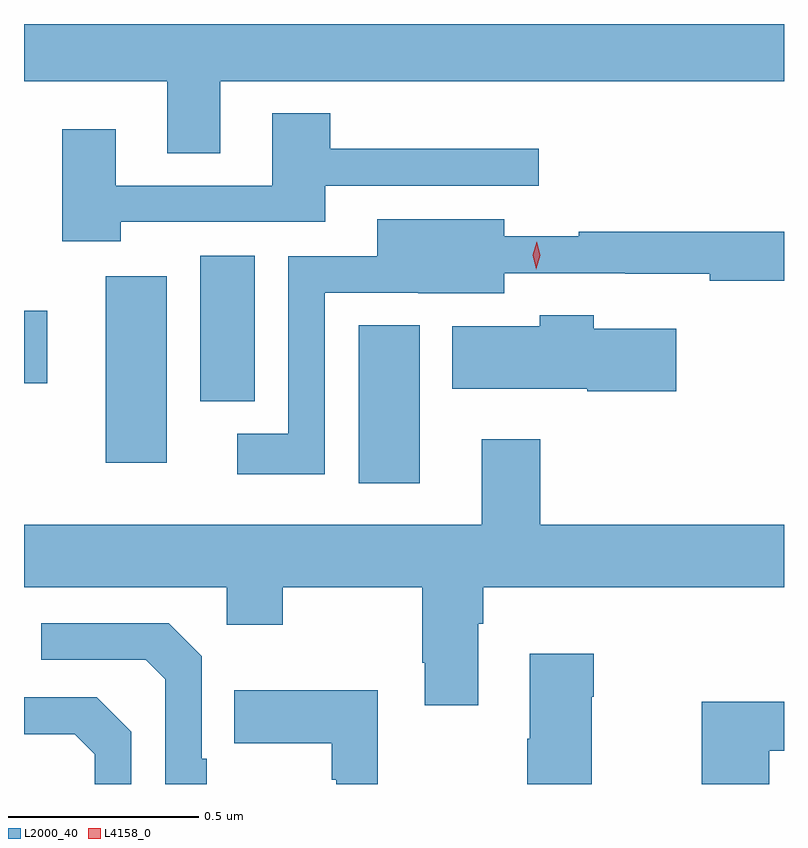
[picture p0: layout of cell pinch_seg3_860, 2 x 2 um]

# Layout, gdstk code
import gdstk
lib = gdstk.Library(unit=1e-6, precision=1e-09)
def R(c, l, rs):  # rectangles x0, y0, x1, y1
    for r in rs: c.add(gdstk.rectangle(r[:2], r[2:], *l))
def P(c, l, *ps):  # polygons
    for p in ps: c.add(gdstk.Polygon(p, *l))
L2000_40 = (2000, 40)
L4158_0 = (4158, 0)

pinch_seg3_860 = lib.new_cell('pinch_seg3_860')
R(pinch_seg3_860, L2000_40, [(709.667,742.482,709.828,742.897), (709.001,742.536,709.162,743.026), (709.25,742.697,709.393,743.08), (708.786,742.745,708.847,742.936)])
P(pinch_seg3_860, L2000_40, [(709.303,743.54),(710.786,743.54),(710.786,743.69),(708.786,743.69),(708.786,743.54),(709.163,743.54),(709.163,743.35),(709.303,743.35)],
  [(709.04,743.169),(709.579,743.169),(709.579,743.265),(710.14,743.265),(710.14,743.362),(709.592,743.362),(709.592,743.455),(709.439,743.455),(709.439,743.265),(709.027,743.265),(709.027,743.413),(708.887,743.413),(708.887,743.118),(709.04,743.118)],
  [(709.578,742.983),(709.824,742.983),(709.824,742.982),(710.05,742.982),(710.05,743.034),(710.368,743.034),(710.368,743.033),(710.59,743.033),(710.59,743.014),(710.786,743.014),(710.786,743.143),(710.246,743.143),(710.246,743.131),(710.05,743.131),(710.05,743.176),(709.715,743.176),(709.715,743.079),(709.482,743.079),(709.482,742.612),(709.347,742.612),(709.347,742.505),(709.578,742.505)],
  [(710.503,742.888),(710.285,742.888),(710.285,742.924),(710.143,742.924),(710.143,742.894),(709.913,742.894),(709.913,742.73),(710.268,742.73),(710.268,742.723),(710.503,742.723)],
  [(709.981,742.112),(709.994,742.112),(709.994,742.208),(710.786,742.208),(710.786,742.372),(710.144,742.372),(710.144,742.597),(709.991,742.597),(709.991,742.372),(708.786,742.372),(708.786,742.208),(709.32,742.208),(709.32,742.109),(709.467,742.109),(709.467,742.208),(709.834,742.208),(709.834,742.009),(709.841,742.009),(709.841,741.897),(709.981,741.897)],
  [(709.267,741.757),(709.254,741.757),(709.254,742.026),(709.167,742.113),(708.831,742.113),(708.831,742.017),(709.107,742.017),(709.158,741.966),(709.158,741.69),(709.267,741.69)],
  [(710.28,741.92),(710.285,741.92),(710.285,742.033),(710.117,742.033),(710.117,741.809),(710.11,741.809),(710.11,741.69),(710.28,741.69)],
  [(709.717,741.937),(709.339,741.937),(709.339,741.797),(709.596,741.797),(709.596,741.701),(709.608,741.701),(709.608,741.69),(709.717,741.69)],
  [(709.068,741.828),(708.978,741.918),(708.786,741.918),(708.786,741.821),(708.919,741.821),(708.972,741.768),(708.972,741.69),(709.068,741.69)],
  [(710.747,741.778),(710.786,741.778),(710.786,741.907),(710.569,741.907),(710.569,741.69),(710.747,741.69)])
P(pinch_seg3_860, L4158_0, [(710.134,743.045),(710.134,743.046),(710.125,743.081),(710.135,743.117),(710.135,743.117),(710.135,743.117),(710.144,743.081),(710.134,743.046)])

lib.write_gds('pinch_seg3_860.gds')
